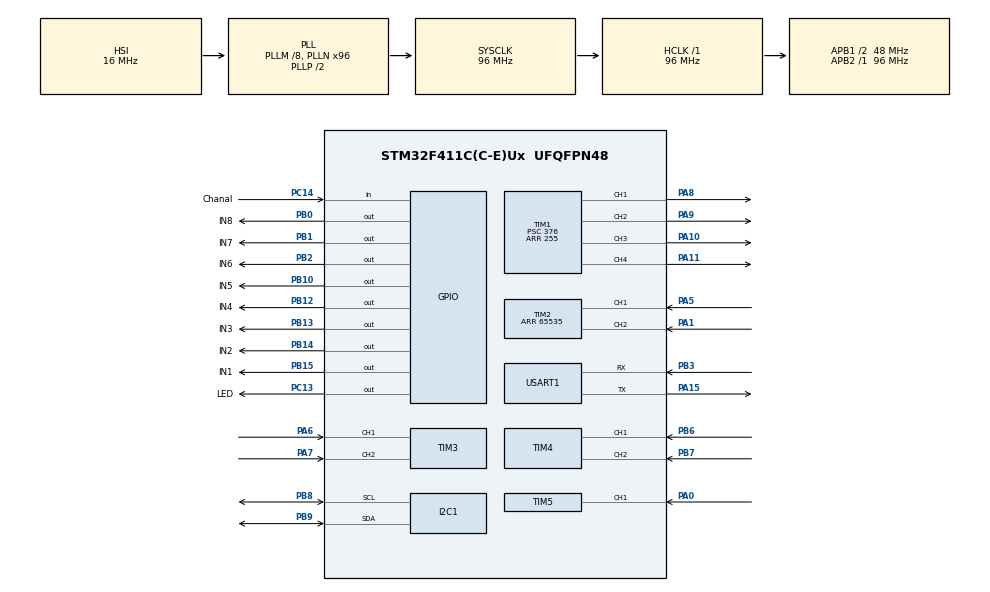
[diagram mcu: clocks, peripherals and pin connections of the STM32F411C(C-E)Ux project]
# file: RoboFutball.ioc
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Mcu.Family=STM32F4
Mcu.Name=STM32F411C(C-E)Ux
Mcu.Package=UFQFPN48
NVIC.PriorityGroup=NVIC_PRIORITYGROUP_4
NVIC.TIM1_BRK_TIM9_IRQn=true\:0\:0\:false\:false\:true\:true\:true\:true
NVIC.TIM2_IRQn=true\:0\:0\:false\:false\:true\:true\:true\:true
NVIC.TIM3_IRQn=true\:0\:0\:false\:false\:true\:true\:true\:true
NVIC.TIM4_IRQn=true\:0\:0\:false\:false\:true\:true\:true\:true
NVIC.TIM5_IRQn=true\:0\:0\:false\:false\:true\:true\:true\:true
NVIC.USART1_IRQn=true\:0\:0\:false\:false\:true\:true\:true\:true
PA0-WKUP.Signal=S_TIM5_CH1
PA1.Signal=S_TIM2_CH2
PA10.Signal=S_TIM1_CH3
PA11.Signal=S_TIM1_CH4
PA15.Mode=Asynchronous
PA15.Signal=USART1_TX
PA5.Signal=S_TIM2_CH1_ETR
PA6.Signal=S_TIM3_CH1
PA7.Signal=S_TIM3_CH2
PA8.Signal=S_TIM1_CH1
PA9.Signal=S_TIM1_CH2
PB0.GPIO_Label=IN8
PB0.Signal=GPIO_Output
PB1.GPIO_Label=IN7
PB1.Signal=GPIO_Output
PB10.GPIO_Label=IN5
PB10.Signal=GPIO_Output
PB12.GPIO_Label=IN4
PB12.Signal=GPIO_Output
PB13.GPIO_Label=IN3
PB13.Signal=GPIO_Output
PB14.GPIO_Label=IN2
PB14.Signal=GPIO_Output
PB15.GPIO_Label=IN1
PB15.Signal=GPIO_Output
PB2.GPIO_Label=IN6
PB2.Signal=GPIO_Output
PB3.Mode=Asynchronous
PB3.Signal=USART1_RX
PB6.Signal=S_TIM4_CH1
PB7.Signal=S_TIM4_CH2
PB8.Mode=I2C
PB8.Signal=I2C1_SCL
PB9.Mode=I2C
PB9.Signal=I2C1_SDA
PC13-ANTI_TAMP.GPIO_Label=LED
PC13-ANTI_TAMP.Signal=GPIO_Output
PC14-OSC32_IN.GPIO_Label=Chanal
PC14-OSC32_IN.Signal=GPIO_Input
ProjectManager.HeapSize=0x200
ProjectManager.StackSize=0x400
ProjectManager.TargetToolchain=STM32CubeIDE
RCC.48MHZClocksFreq_Value=48000000
RCC.AHBFreq_Value=96000000
RCC.APB1CLKDivider=RCC_HCLK_DIV2
RCC.APB1Freq_Value=48000000
RCC.APB1TimFreq_Value=96000000
RCC.APB2Freq_Value=96000000
RCC.APB2TimFreq_Value=96000000
RCC.CortexFreq_Value=96000000
RCC.HCLKFreq_Value=96000000
RCC.HSE_VALUE=25000000
RCC.HSI_VALUE=16000000
RCC.LSE_VALUE=32768
RCC.PLLM=8
RCC.PLLN=96
RCC.SYSCLKFreq_VALUE=96000000
RCC.SYSCLKSource=RCC_SYSCLKSOURCE_PLLCLK
RCC.VCOOutputFreq_Value=192000000
SH.S_TIM1_CH1.0=TIM1_CH1,PWM Generation1 CH1
SH.S_TIM1_CH2.0=TIM1_CH2,PWM Generation2 CH2
SH.S_TIM1_CH3.0=TIM1_CH3,PWM Generation3 CH3
SH.S_TIM1_CH4.0=TIM1_CH4,PWM Generation4 CH4
SH.S_TIM2_CH1_ETR.0=TIM2_CH1,Encoder_Interface
SH.S_TIM2_CH2.0=TIM2_CH2,Encoder_Interface
SH.S_TIM3_CH1.0=TIM3_CH1,Encoder_Interface
SH.S_TIM3_CH2.0=TIM3_CH2,Encoder_Interface
SH.S_TIM4_CH1.0=TIM4_CH1,Encoder_Interface
SH.S_TIM4_CH2.0=TIM4_CH2,Encoder_Interface
SH.S_TIM5_CH1.0=TIM5_CH1,Input_Capture1_from_TI1
SH.S_TIM5_CH1.1=TIM5_CH1,TriggerSource_TI1FP1
TIM1.Channel-PWM\ Generation1\ CH1=TIM_CHANNEL_1
TIM1.Channel-PWM\ Generation2\ CH2=TIM_CHANNEL_2
TIM1.Channel-PWM\ Generation3\ CH3=TIM_CHANNEL_3
TIM1.Channel-PWM\ Generation4\ CH4=TIM_CHANNEL_4
TIM1.Period=255
TIM1.Prescaler=376
TIM2.Period=65535
TIM5.Channel-Input_Capture1_from_TI1=TIM_CHANNEL_1
TIM5.Channel-Input_Capture2_from_TI1_63=TIM_CHANNEL_2
TIM5.ICPolarity_CH1=TIM_INPUTCHANNELPOLARITY_RISING
TIM5.ICPolarity_CH2=TIM_INPUTCHANNELPOLARITY_FALLING
TIM5.Period=65535
TIM5.Prescaler=97
USART1.VirtualMode=VM_ASYNC
VP_TIM5_VS_ControllerModeReset.Mode=Reset Mode
VP_TIM5_VS_indirect_ch1.Mode=Input_Capture2_from_TI1_63
board=custom

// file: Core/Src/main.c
/* USER CODE BEGIN Header */
/**
  ******************************************************************************
  * @file           : main.c
  * @brief          : Main program body
  ******************************************************************************
  * @attention
  *
  * Copyright (c) 2025 STMicroelectronics.
  * All rights reserved.
  *
  * This software is licensed under terms that can be found in the LICENSE file
  * in the root directory of this software component.
  * If no LICENSE file comes with this software, it is provided AS-IS.
  *
  ******************************************************************************
  */
/* USER CODE END Header */
#include "main.h"

/* USER CODE BEGIN Includes */
#include "../MPU/MPU.h"
#include "../PID_Lib/PID_Lib.h"
/* USER CODE END Includes */

I2C_HandleTypeDef hi2c1;

TIM_HandleTypeDef htim1;
TIM_HandleTypeDef htim2;
TIM_HandleTypeDef htim3;
TIM_HandleTypeDef htim4;
TIM_HandleTypeDef htim5;

UART_HandleTypeDef huart1;

void SystemClock_Config(void);
static void MX_GPIO_Init(void);
static void MX_TIM1_Init(void);
static void MX_TIM2_Init(void);
static void MX_TIM3_Init(void);
static void MX_TIM4_Init(void);
static void MX_TIM5_Init(void);
static void MX_I2C1_Init(void);
static void MX_USART1_UART_Init(void);

/* USER CODE BEGIN 0 */
char msgBuffer[50];
int16_t ch_data[16] = {0};
uint8_t channel = 0;
int16_t Angle_Motor[3] = {0};

#define U_max 42 // max угл-скор колеса рад/с
#define r 30 // радиус колеса мм
#define d 103 // раст от центра до колеса мм
/* USER CODE END 0 */

int main(void)
{

  /* MCU Configuration--------------------------------------------------------*/

  /* Reset of all peripherals, Initializes the Flash interface and the Systick. */
  HAL_Init();

  /* Configure the system clock */
  SystemClock_Config();

  /* Initialize all configured peripherals */
  MX_GPIO_Init();
  MX_TIM1_Init();
  MX_TIM2_Init();
  MX_TIM3_Init();
  MX_TIM4_Init();
  MX_TIM5_Init();
  MX_I2C1_Init();
  MX_USART1_UART_Init();
  /* USER CODE BEGIN 2 */
  HAL_TIM_IC_Start_IT(&htim5, TIM_CHANNEL_1);
  HAL_TIM_IC_Start_IT(&htim5, TIM_CHANNEL_2);
  Init_Encoders();
  //Calibration_MPU(&hi2c1, 100);
  Init_PWM();
  for (uint8_t i = 0; i < sizeof(msgBuffer); i++) {
	  msgBuffer[i] = ' ';
  }
  HAL_Delay(2000);
  /* USER CODE END 2 */

  /* Infinite loop */
  /* USER CODE BEGIN WHILE */
  while (1){
	  //Get_MPU(10);

	  Speed_Convert((int)((ch_data[3] - 1075)*1.5),(int)((ch_data[2] - 1075)*1.5), (ch_data[0] - 1075));
//	  Dribling(ch_data[4]);
	  Print_Channels();
	  //Stupenika_TEST(0, 30, 2000);
    /* USER CODE END WHILE */

  }
}

void SystemClock_Config(void)
{
  RCC_OscInitTypeDef RCC_OscInitStruct = {0};
  RCC_ClkInitTypeDef RCC_ClkInitStruct = {0};

  /** Configure the main internal regulator output voltage
  */
  __HAL_RCC_PWR_CLK_ENABLE();
  __HAL_PWR_VOLTAGESCALING_CONFIG(PWR_REGULATOR_VOLTAGE_SCALE1);

  /** Initializes the RCC Oscillators according to the specified parameters
  * in the RCC_OscInitTypeDef structure.
  */
  RCC_OscInitStruct.OscillatorType = RCC_OSCILLATORTYPE_HSI;
  RCC_OscInitStruct.HSIState = RCC_HSI_ON;
  RCC_OscInitStruct.HSICalibrationValue = RCC_HSICALIBRATION_DEFAULT;
  RCC_OscInitStruct.PLL.PLLState = RCC_PLL_ON;
  RCC_OscInitStruct.PLL.PLLSource = RCC_PLLSOURCE_HSI;
  RCC_OscInitStruct.PLL.PLLM = 8;
  RCC_OscInitStruct.PLL.PLLN = 96;
  RCC_OscInitStruct.PLL.PLLP = RCC_PLLP_DIV2;
  RCC_OscInitStruct.PLL.PLLQ = 4;
  if (HAL_RCC_OscConfig(&RCC_OscInitStruct) != HAL_OK)
  {
    Error_Handler();
  }

  /** Initializes the CPU, AHB and APB buses clocks
  */
  RCC_ClkInitStruct.ClockType = RCC_CLOCKTYPE_HCLK|RCC_CLOCKTYPE_SYSCLK
                              |RCC_CLOCKTYPE_PCLK1|RCC_CLOCKTYPE_PCLK2;
  RCC_ClkInitStruct.SYSCLKSource = RCC_SYSCLKSOURCE_PLLCLK;
  RCC_ClkInitStruct.AHBCLKDivider = RCC_SYSCLK_DIV1;
  RCC_ClkInitStruct.APB1CLKDivider = RCC_HCLK_DIV2;
  RCC_ClkInitStruct.APB2CLKDivider = RCC_HCLK_DIV1;

  if (HAL_RCC_ClockConfig(&RCC_ClkInitStruct, FLASH_LATENCY_3) != HAL_OK)
  {
    Error_Handler();
  }
}

static void MX_I2C1_Init(void)
{

  hi2c1.Instance = I2C1;
  hi2c1.Init.ClockSpeed = 100000;
  hi2c1.Init.DutyCycle = I2C_DUTYCYCLE_2;
  hi2c1.Init.OwnAddress1 = 0;
  hi2c1.Init.AddressingMode = I2C_ADDRESSINGMODE_7BIT;
  hi2c1.Init.DualAddressMode = I2C_DUALADDRESS_DISABLE;
  hi2c1.Init.OwnAddress2 = 0;
  hi2c1.Init.GeneralCallMode = I2C_GENERALCALL_DISABLE;
  hi2c1.Init.NoStretchMode = I2C_NOSTRETCH_DISABLE;
  if (HAL_I2C_Init(&hi2c1) != HAL_OK)
  {
    Error_Handler();
  }

}

static void MX_TIM1_Init(void)
{

  TIM_MasterConfigTypeDef sMasterConfig = {0};
  TIM_OC_InitTypeDef sConfigOC = {0};
  TIM_BreakDeadTimeConfigTypeDef sBreakDeadTimeConfig = {0};

  htim1.Instance = TIM1;
  htim1.Init.Prescaler = 376;
  htim1.Init.CounterMode = TIM_COUNTERMODE_UP;
  htim1.Init.Period = 255;
  htim1.Init.ClockDivision = TIM_CLOCKDIVISION_DIV1;
  htim1.Init.RepetitionCounter = 0;
  htim1.Init.AutoReloadPreload = TIM_AUTORELOAD_PRELOAD_DISABLE;
  if (HAL_TIM_PWM_Init(&htim1) != HAL_OK)
  {
    Error_Handler();
  }
  sMasterConfig.MasterOutputTrigger = TIM_TRGO_RESET;
  sMasterConfig.MasterSlaveMode = TIM_MASTERSLAVEMODE_DISABLE;
  if (HAL_TIMEx_MasterConfigSynchronization(&htim1, &sMasterConfig) != HAL_OK)
  {
    Error_Handler();
  }
  sConfigOC.OCMode = TIM_OCMODE_PWM1;
  sConfigOC.Pulse = 0;
  sConfigOC.OCPolarity = TIM_OCPOLARITY_HIGH;
  sConfigOC.OCNPolarity = TIM_OCNPOLARITY_HIGH;
  sConfigOC.OCFastMode = TIM_OCFAST_DISABLE;
  sConfigOC.OCIdleState = TIM_OCIDLESTATE_RESET;
  sConfigOC.OCNIdleState = TIM_OCNIDLESTATE_RESET;
  if (HAL_TIM_PWM_ConfigChannel(&htim1, &sConfigOC, TIM_CHANNEL_1) != HAL_OK)
  {
    Error_Handler();
  }
  if (HAL_TIM_PWM_ConfigChannel(&htim1, &sConfigOC, TIM_CHANNEL_2) != HAL_OK)
  {
    Error_Handler();
  }
  if (HAL_TIM_PWM_ConfigChannel(&htim1, &sConfigOC, TIM_CHANNEL_3) != HAL_OK)
  {
    Error_Handler();
  }
  if (HAL_TIM_PWM_ConfigChannel(&htim1, &sConfigOC, TIM_CHANNEL_4) != HAL_OK)
  {
    Error_Handler();
  }
  sBreakDeadTimeConfig.OffStateRunMode = TIM_OSSR_DISABLE;
  sBreakDeadTimeConfig.OffStateIDLEMode = TIM_OSSI_DISABLE;
  sBreakDeadTimeConfig.LockLevel = TIM_LOCKLEVEL_OFF;
  sBreakDeadTimeConfig.DeadTime = 0;
  sBreakDeadTimeConfig.BreakState = TIM_BREAK_DISABLE;
  sBreakDeadTimeConfig.BreakPolarity = TIM_BREAKPOLARITY_HIGH;
  sBreakDeadTimeConfig.AutomaticOutput = TIM_AUTOMATICOUTPUT_DISABLE;
  if (HAL_TIMEx_ConfigBreakDeadTime(&htim1, &sBreakDeadTimeConfig) != HAL_OK)
  {
    Error_Handler();
  }
  HAL_TIM_MspPostInit(&htim1);

}

static void MX_TIM2_Init(void)
{

  TIM_Encoder_InitTypeDef sConfig = {0};
  TIM_MasterConfigTypeDef sMasterConfig = {0};

  htim2.Instance = TIM2;
  htim2.Init.Prescaler = 0;
  htim2.Init.CounterMode = TIM_COUNTERMODE_UP;
  htim2.Init.Period = 65535;
  htim2.Init.ClockDivision = TIM_CLOCKDIVISION_DIV1;
  htim2.Init.AutoReloadPreload = TIM_AUTORELOAD_PRELOAD_DISABLE;
  sConfig.EncoderMode = TIM_ENCODERMODE_TI1;
  sConfig.IC1Polarity = TIM_ICPOLARITY_RISING;
  sConfig.IC1Selection = TIM_ICSELECTION_DIRECTTI;
  sConfig.IC1Prescaler = TIM_ICPSC_DIV1;
  sConfig.IC1Filter = 0;
  sConfig.IC2Polarity = TIM_ICPOLARITY_RISING;
  sConfig.IC2Selection = TIM_ICSELECTION_DIRECTTI;
  sConfig.IC2Prescaler = TIM_ICPSC_DIV1;
  sConfig.IC2Filter = 0;
  if (HAL_TIM_Encoder_Init(&htim2, &sConfig) != HAL_OK)
  {
    Error_Handler();
  }
  sMasterConfig.MasterOutputTrigger = TIM_TRGO_RESET;
  sMasterConfig.MasterSlaveMode = TIM_MASTERSLAVEMODE_DISABLE;
  if (HAL_TIMEx_MasterConfigSynchronization(&htim2, &sMasterConfig) != HAL_OK)
  {
    Error_Handler();
  }

}

static void MX_TIM3_Init(void)
{

  TIM_Encoder_InitTypeDef sConfig = {0};
  TIM_MasterConfigTypeDef sMasterConfig = {0};

  htim3.Instance = TIM3;
  htim3.Init.Prescaler = 0;
  htim3.Init.CounterMode = TIM_COUNTERMODE_UP;
  htim3.Init.Period = 65535;
  htim3.Init.ClockDivision = TIM_CLOCKDIVISION_DIV1;
  htim3.Init.AutoReloadPreload = TIM_AUTORELOAD_PRELOAD_DISABLE;
  sConfig.EncoderMode = TIM_ENCODERMODE_TI1;
  sConfig.IC1Polarity = TIM_ICPOLARITY_RISING;
  sConfig.IC1Selection = TIM_ICSELECTION_DIRECTTI;
  sConfig.IC1Prescaler = TIM_ICPSC_DIV1;
  sConfig.IC1Filter = 0;
  sConfig.IC2Polarity = TIM_ICPOLARITY_RISING;
  sConfig.IC2Selection = TIM_ICSELECTION_DIRECTTI;
  sConfig.IC2Prescaler = TIM_ICPSC_DIV1;
  sConfig.IC2Filter = 0;
  if (HAL_TIM_Encoder_Init(&htim3, &sConfig) != HAL_OK)
  {
    Error_Handler();
  }
  sMasterConfig.MasterOutputTrigger = TIM_TRGO_RESET;
  sMasterConfig.MasterSlaveMode = TIM_MASTERSLAVEMODE_DISABLE;
  if (HAL_TIMEx_MasterConfigSynchronization(&htim3, &sMasterConfig) != HAL_OK)
  {
    Error_Handler();
  }

}

static void MX_TIM4_Init(void)
{

  TIM_Encoder_InitTypeDef sConfig = {0};
  TIM_MasterConfigTypeDef sMasterConfig = {0};

  htim4.Instance = TIM4;
  htim4.Init.Prescaler = 0;
  htim4.Init.CounterMode = TIM_COUNTERMODE_UP;
  htim4.Init.Period = 65535;
  htim4.Init.ClockDivision = TIM_CLOCKDIVISION_DIV1;
  htim4.Init.AutoReloadPreload = TIM_AUTORELOAD_PRELOAD_DISABLE;
  sConfig.EncoderMode = TIM_ENCODERMODE_TI1;
  sConfig.IC1Polarity = TIM_ICPOLARITY_RISING;
  sConfig.IC1Selection = TIM_ICSELECTION_DIRECTTI;
  sConfig.IC1Prescaler = TIM_ICPSC_DIV1;
  sConfig.IC1Filter = 0;
  sConfig.IC2Polarity = TIM_ICPOLARITY_RISING;
  sConfig.IC2Selection = TIM_ICSELECTION_DIRECTTI;
  sConfig.IC2Prescaler = TIM_ICPSC_DIV1;
  sConfig.IC2Filter = 0;
  if (HAL_TIM_Encoder_Init(&htim4, &sConfig) != HAL_OK)
  {
    Error_Handler();
  }
  sMasterConfig.MasterOutputTrigger = TIM_TRGO_RESET;
  sMasterConfig.MasterSlaveMode = TIM_MASTERSLAVEMODE_DISABLE;
  if (HAL_TIMEx_MasterConfigSynchronization(&htim4, &sMasterConfig) != HAL_OK)
  {
    Error_Handler();
  }

}

static void MX_TIM5_Init(void)
{

  TIM_SlaveConfigTypeDef sSlaveConfig = {0};
  TIM_MasterConfigTypeDef sMasterConfig = {0};
  TIM_IC_InitTypeDef sConfigIC = {0};

  htim5.Instance = TIM5;
  htim5.Init.Prescaler = 97;
  htim5.Init.CounterMode = TIM_COUNTERMODE_UP;
  htim5.Init.Period = 65535;
  htim5.Init.ClockDivision = TIM_CLOCKDIVISION_DIV1;
  htim5.Init.AutoReloadPreload = TIM_AUTORELOAD_PRELOAD_DISABLE;
  if (HAL_TIM_Base_Init(&htim5) != HAL_OK)
  {
    Error_Handler();
  }
  if (HAL_TIM_IC_Init(&htim5) != HAL_OK)
  {
    Error_Handler();
  }
  sSlaveConfig.SlaveMode = TIM_SLAVEMODE_RESET;
  sSlaveConfig.InputTrigger = TIM_TS_TI1FP1;
  sSlaveConfig.TriggerPolarity = TIM_INPUTCHANNELPOLARITY_RISING;
  sSlaveConfig.TriggerFilter = 0;
  if (HAL_TIM_SlaveConfigSynchro(&htim5, &sSlaveConfig) != HAL_OK)
  {
    Error_Handler();
  }
  sMasterConfig.MasterOutputTrigger = TIM_TRGO_RESET;
  sMasterConfig.MasterSlaveMode = TIM_MASTERSLAVEMODE_DISABLE;
  if (HAL_TIMEx_MasterConfigSynchronization(&htim5, &sMasterConfig) != HAL_OK)
  {
    Error_Handler();
  }
  sConfigIC.ICPolarity = TIM_INPUTCHANNELPOLARITY_RISING;
  sConfigIC.ICSelection = TIM_ICSELECTION_DIRECTTI;
  sConfigIC.ICPrescaler = TIM_ICPSC_DIV1;
  sConfigIC.ICFilter = 0;
  if (HAL_TIM_IC_ConfigChannel(&htim5, &sConfigIC, TIM_CHANNEL_1) != HAL_OK)
  {
    Error_Handler();
  }
  sConfigIC.ICPolarity = TIM_INPUTCHANNELPOLARITY_FALLING;
  sConfigIC.ICSelection = TIM_ICSELECTION_INDIRECTTI;
  if (HAL_TIM_IC_ConfigChannel(&htim5, &sConfigIC, TIM_CHANNEL_2) != HAL_OK)
  {
    Error_Handler();
  }

}

static void MX_USART1_UART_Init(void)
{

  huart1.Instance = USART1;
  huart1.Init.BaudRate = 115200;
  huart1.Init.WordLength = UART_WORDLENGTH_8B;
  huart1.Init.StopBits = UART_STOPBITS_1;
  huart1.Init.Parity = UART_PARITY_NONE;
  huart1.Init.Mode = UART_MODE_TX_RX;
  huart1.Init.HwFlowCtl = UART_HWCONTROL_NONE;
  huart1.Init.OverSampling = UART_OVERSAMPLING_16;
  if (HAL_UART_Init(&huart1) != HAL_OK)
  {
    Error_Handler();
  }

}

static void MX_GPIO_Init(void)
{
  GPIO_InitTypeDef GPIO_InitStruct = {0};

  /* GPIO Ports Clock Enable */
  __HAL_RCC_GPIOC_CLK_ENABLE();
  __HAL_RCC_GPIOA_CLK_ENABLE();
  __HAL_RCC_GPIOB_CLK_ENABLE();

  /*Configure GPIO pin Output Level */
  HAL_GPIO_WritePin(LED_GPIO_Port, LED_Pin, GPIO_PIN_RESET);

  /*Configure GPIO pin Output Level */
  HAL_GPIO_WritePin(GPIOB, IN8_Pin|IN7_Pin|IN6_Pin|IN5_Pin
                          |IN4_Pin|IN3_Pin|IN2_Pin|IN1_Pin, GPIO_PIN_RESET);

  /*Configure GPIO pin : LED_Pin */
  GPIO_InitStruct.Pin = LED_Pin;
  GPIO_InitStruct.Mode = GPIO_MODE_OUTPUT_PP;
  GPIO_InitStruct.Pull = GPIO_NOPULL;
  GPIO_InitStruct.Speed = GPIO_SPEED_FREQ_LOW;
  HAL_GPIO_Init(LED_GPIO_Port, &GPIO_InitStruct);

  /*Configure GPIO pin : Chanal_Pin */
  GPIO_InitStruct.Pin = Chanal_Pin;
  GPIO_InitStruct.Mode = GPIO_MODE_INPUT;
  GPIO_InitStruct.Pull = GPIO_NOPULL;
  HAL_GPIO_Init(Chanal_GPIO_Port, &GPIO_InitStruct);

  /*Configure GPIO pins : IN8_Pin IN7_Pin IN6_Pin IN5_Pin
                           IN4_Pin IN3_Pin IN2_Pin IN1_Pin */
  GPIO_InitStruct.Pin = IN8_Pin|IN7_Pin|IN6_Pin|IN5_Pin
                          |IN4_Pin|IN3_Pin|IN2_Pin|IN1_Pin;
  GPIO_InitStruct.Mode = GPIO_MODE_OUTPUT_PP;
  GPIO_InitStruct.Pull = GPIO_NOPULL;
  GPIO_InitStruct.Speed = GPIO_SPEED_FREQ_LOW;
  HAL_GPIO_Init(GPIOB, &GPIO_InitStruct);

}

/* USER CODE BEGIN 4 */

void HAL_TIM_IC_CaptureCallback(TIM_HandleTypeDef *htim){
	if(htim->Instance == TIM2){
		Angle_Motor[0] = __HAL_TIM_GET_COUNTER(htim) - 32767; // - обработка первого энкодера по таймеру
	}
	if(htim->Instance == TIM3){
		Angle_Motor[1] = __HAL_TIM_GET_COUNTER(htim) - 32767; // - обработка второго энкодера по таймеру
	}
	if(htim->Instance == TIM4){
		Angle_Motor[2] = __HAL_TIM_GET_COUNTER(htim) - 32767; // - обработка третьего энкодера по таймеру
	}

	if(htim->Instance == TIM5){ // - Обработка каналов приёмника
		if(htim->Channel == HAL_TIM_ACTIVE_CHANNEL_2){
			uint16_t temp;
			temp = HAL_TIM_ReadCapturedValue(&htim5, TIM_CHANNEL_2);
			if(temp >= 5000){ // - ширина между пакетами
				channel = 0;
			}
			else{
				ch_data[channel] = f_zone(temp);
				channel++;
			}
		}
	}
}

void Init_Encoders(){
	HAL_TIM_Encoder_Start_IT(&htim2, TIM_CHANNEL_1);
	__HAL_TIM_SET_COUNTER(&htim2, 0x7FFF); //установка среднего значения = 32767
	HAL_TIM_Encoder_Start_IT(&htim3, TIM_CHANNEL_1);
	__HAL_TIM_SET_COUNTER(&htim3, 0x7FFF); //установка среднего значения = 32767
	HAL_TIM_Encoder_Start_IT(&htim4, TIM_CHANNEL_1);
	__HAL_TIM_SET_COUNTER(&htim4, 0x7FFF); //установка среднего значения = 32767
}

void Init_PWM(){
	HAL_TIM_PWM_Start(&htim1, TIM_CHANNEL_1);
	HAL_TIM_PWM_Start(&htim1, TIM_CHANNEL_2);
	HAL_TIM_PWM_Start(&htim1, TIM_CHANNEL_3);
	HAL_TIM_PWM_Start(&htim1, TIM_CHANNEL_4);
}

void Speed_Convert(int V_x, int V_y, int W_in){ // - (скор x мм/c, скор y мм/с, угл-скор рад/с)
	double W = -W_in/83.0;
	double W_max = U_max * r / (d * 2);
	V_x *= -1;
	V_y *= -1;
	if(W > W_max) W = W_max;
	if(W < W_max * -1) W = W_max * -1;
	int V_max = ((U_max * r) - (d * (abs((int) W)+1))) * 0.58;
	if(V_x > V_max) V_x = V_max;
	if(V_x < V_max * -1) V_x = V_max * -1;
	if(V_y > V_max) V_y = V_max;
	if(V_y < V_max * -1) V_y = V_max * -1;
	int u1 = (int) ((V_x - d * W) / r);
	int u2 = (int) (-1 * (d * W  + V_x / 2 + V_y * 0.86) / r);
	int u3 = (int) ((V_y * 0.86 - V_x / 2 - d * W) / r);
	sprintf(msgBuffer, "$ %d %lf & %d %d %lf %d %d %d;\r\n",V_max,W_max, V_x, V_y, W, u1, u2, u3);
//	sprintf(msgBuffer, "$ %d %d %f %d %d %d ;\r\n", V_x, V_y, W, u1, u2, u3);
//	sprintf(msgBuffer, "$ %d %d %d %lf;\r\n",V_x, V_y,V_max, W);

//	sprintf(msgBuffer, , );
	//HAL_UART_Transmit_IT(&huart1, (uint8_t*) msgBuffer, sizeof(msgBuffer));
	HAL_Delay(20);
	Moove(u1, u2, u3);
}

void Moove(int speed_A, int speed_B, int speed_C){ // - скорость в рад/с
	//Motor_direction_A(PID_Speed_A(speed_A * 0.71, Angle_Motor[0], 20));
	Motor_direction_A((int)(speed_A * 8));
	Motor_direction_B((int)(speed_B * 8));
	Motor_direction_C((int)(speed_C * 8));
	//Motor_direction_B(PID_Speed_B(speed_B * 0.71, Angle_Motor[1], 20));
	//Motor_direction_C(PID_Speed_C(speed_C * 0.71, Angle_Motor[2], 20));
}

void Dribling(int ch){
	if(ch < 700){
		Motor_direction_D(255);
	}
	else if(ch > 1000 && ch < 1200){
		Motor_direction_D(0);
	}
	else{
		Motor_direction_D(-255);
	}
}

void Stupenika_TEST(int vel1, int vel2, int dT){ // - скорость в рад/с
	static long T_last;
	static int vel;
	static int i;
	if(HAL_GetTick() - T_last >= dT){
		if(i == 0){
			vel = vel1;
			i = 1;
		}
		else{
			vel = vel2;
			i = 0;
		}
		T_last = HAL_GetTick();
	}
	int Out = PID_Speed_C(vel * 0.71, Angle_Motor[2], 20);
	sprintf(msgBuffer, "$ %f %f %d;\r\n", vel * 0.71, Return_OO_Vel_C() / 0.71, Angle_Motor[2]);
	HAL_UART_Transmit_IT(&huart1, (uint8_t*) msgBuffer, sizeof(msgBuffer));
	Motor_direction_C(Out);
}

void Motor_direction_A(int Out){ // - управление мотором A
	TIM1->CCR1 = abs(Out);
	if(Out >= 0){
		HAL_GPIO_WritePin(IN1_GPIO_Port, IN1_Pin, 1);
		HAL_GPIO_WritePin(IN2_GPIO_Port, IN2_Pin, 0);
	}
	else{
		HAL_GPIO_WritePin(IN1_GPIO_Port, IN1_Pin, 0);
		HAL_GPIO_WritePin(IN2_GPIO_Port, IN2_Pin, 1);
	}
}

void Motor_direction_B(int Out){ // - управление мотором B
	TIM1->CCR2 = abs(Out);
	if(Out >= 0){
		HAL_GPIO_WritePin(IN3_GPIO_Port, IN3_Pin, 1);
		HAL_GPIO_WritePin(IN4_GPIO_Port, IN4_Pin, 0);
	}
	else{
		HAL_GPIO_WritePin(IN3_GPIO_Port, IN3_Pin, 0);
		HAL_GPIO_WritePin(IN4_GPIO_Port, IN4_Pin, 1);
	}
}

void Motor_direction_C(int Out){ // - управление мотором C
	TIM1->CCR3 = abs(Out);
	if(Out >= 0){
		HAL_GPIO_WritePin(IN5_GPIO_Port, IN5_Pin, 1);
		HAL_GPIO_WritePin(IN6_GPIO_Port, IN6_Pin, 0);
	}
	else{
		HAL_GPIO_WritePin(IN5_GPIO_Port, IN5_Pin, 0);
		HAL_GPIO_WritePin(IN6_GPIO_Port, IN6_Pin, 1);
	}
}

void Motor_direction_D(int Out){ // - управление мотором D
	TIM1->CCR4 = abs(Out);
	if(Out >= 0){
		HAL_GPIO_WritePin(IN7_GPIO_Port, IN7_Pin, 1);
		HAL_GPIO_WritePin(IN8_GPIO_Port, IN8_Pin, 0);
	}
	else{
		HAL_GPIO_WritePin(IN7_GPIO_Port, IN7_Pin, 0);
		HAL_GPIO_WritePin(IN8_GPIO_Port, IN8_Pin, 1);
	}
}

void Print_Channels(){
	sprintf(msgBuffer, "$ %d %d %d %d %d %d;\r\n", ch_data[0], ch_data[1], ch_data[2], ch_data[3], ch_data[4], ch_data[5]);
	HAL_UART_Transmit_IT(&huart1, (uint8_t*) msgBuffer, sizeof(msgBuffer));
	HAL_Delay(20);
}

int f_zone(int ch){
	if(ch < 1150 && ch > 1000){
		return 1075;
	}
	else{
		return ch;
	}
}
 void died_zone(){
	 for(int i=0; i < 16; i++){
		 ch_data[i] = f_zone(ch_data[i]);
	 }
 }
/* USER CODE END 4 */

void Error_Handler(void)
{
  __disable_irq();
  while (1)
  {
  }
}
